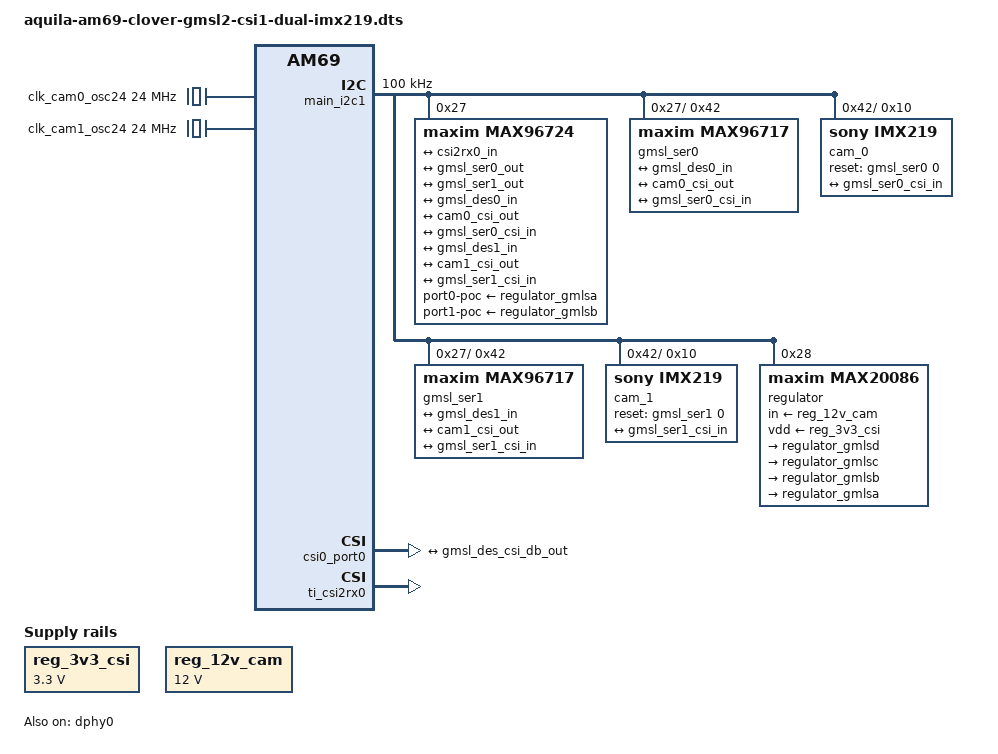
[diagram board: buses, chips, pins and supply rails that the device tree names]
// SPDX-License-Identifier: GPL-2.0-or-later OR MIT
/*
 * Aquila AM69 Dual IMX219 over GMSL2 (CSI1)
 *
 * Uses GMSL links A and B (deserializer ports 0 and 1); links C and D are
 * left unpopulated and their PoC supplies stay off.
 *
 *   imx219 -> max96717 -> max96724 -> cdns csi-bridge -> ticsi2rx
 *
 * Both sensors share the deserializer CSI output and are separated by
 * virtual channel (vc = 0 and 1).
 */


/dts-v1/;
/plugin/;

#include <dt-bindings/gpio/gpio.h>
#include <dt-bindings/media/video-interfaces.h>

/ {
	compatible = "toradex,aquila-am69";
};

&{/} {
	clk_cam0_osc24: clk-cam0-osc24 {
		compatible = "fixed-clock";
		#clock-cells = <0>;
		clock-frequency = <24000000>;
	};

	clk_cam1_osc24: clk-cam1-osc24 {
		compatible = "fixed-clock";
		#clock-cells = <0>;
		clock-frequency = <24000000>;
	};

	reg_3v3_csi: regulator-3v3-csi {
		compatible = "regulator-fixed";
		regulator-name = "V_CSI";
		regulator-min-microvolt = <3300000>;
		regulator-max-microvolt = <3300000>;
	};

	reg_12v_cam: regulator-12v-cam {
		compatible = "regulator-fixed";
		regulator-name = "V_12V_IN";
		regulator-min-microvolt = <12000000>;
		regulator-max-microvolt = <12000000>;
	};
};

/* Aquila I2C_4_CSI1 */
&main_i2c1 {
	#address-cells = <1>;
	#size-cells = <0>;
	status = "okay";

	clock-frequency = <100000>;

	max96724: gmsl-deserializer@27 {
		compatible = "maxim,max96724";
		reg = <0x27>;
		port0-poc-supply = <&regulator_gmlsa>;
		port1-poc-supply = <&regulator_gmlsb>;
	};

	regulator@28 {
		compatible = "maxim,max20086";
		reg = <0x28>;
		in-supply = <&reg_12v_cam>;
		vdd-supply = <&reg_3v3_csi>;

		regulators {
			regulator_gmlsd: OUT1 {
				regulator-name = "VPOC_D";
			};

			regulator_gmlsc: OUT2 {
				regulator-name = "VPOC_C";
			};

			regulator_gmlsb: OUT3 {
				regulator-name = "VPOC_B";
			};

			regulator_gmlsa: OUT4 {
				regulator-name = "VPOC_A";
			};
		};
	};
};

&max96724 {
	i2c-alias-pool = <0x42 0x43>;

	ports {
		#address-cells = <1>;
		#size-cells = <0>;

		port@6 {
			reg = <6>;

			gmsl_des_csi_db_out: endpoint {
				remote-endpoint = <&csi2rx0_in>;
				clock-lanes = <0>;
				data-lanes = <1 2 3 4>;
				lane-polarities = <0 1 0 1 0>;
				link-frequencies = /bits/ 64 <700000000>;
			};
		};
	};
};

&max96724 {
	ports {
		#address-cells = <1>;
		#size-cells = <0>;

		port@0 {
			reg = <0>;

			gmsl_des0_in: endpoint {
				remote-endpoint = <&gmsl_ser0_out>;
			};
		};

		port@1 {
			reg = <1>;

			gmsl_des1_in: endpoint {
				remote-endpoint = <&gmsl_ser1_out>;
			};
		};
	};

	i2c-atr {
		#address-cells = <1>;
		#size-cells = <0>;

		i2c@0 {
			reg  = <0x0>;
			#address-cells = <1>;
			#size-cells = <0>;

			gmsl_ser0: gmsl-serializer@42 {
				compatible = "maxim,max96717";
				reg = <0x42>;
				#gpio-cells = <2>;
				gpio-controller;
				gpio-ranges = <&gmsl_ser0 0 0 11>;

				ports {
					#address-cells = <1>;
					#size-cells = <0>;

					port@1 {
						reg = <1>;

						gmsl_ser0_out: endpoint {
							remote-endpoint = <&gmsl_des0_in>;
						};
					};
				};
			};
		};

		i2c@1 {
			reg  = <0x01>;
			#address-cells = <1>;
			#size-cells = <0>;

			gmsl_ser1: gmsl-serializer@42 {
				compatible = "maxim,max96717";
				reg = <0x42>;
				#gpio-cells = <2>;
				gpio-controller;
				gpio-ranges = <&gmsl_ser1 0 0 11>;

				ports {
					#address-cells = <1>;
					#size-cells = <0>;

					port@1 {
						reg = <1>;

						gmsl_ser1_out: endpoint {
							remote-endpoint = <&gmsl_des1_in>;
						};
					};
				};
			};
		};
	};
};

&gmsl_ser0 {
	status = "okay";

	i2c-alias-pool = <0x50 0x51>;

	i2c-atr {
		status = "okay";
		#address-cells = <1>;
		#size-cells = <0>;

		gmsl_ser0_i2c_0: i2c@0 {
			status = "okay";
			#address-cells = <1>;
			#size-cells = <0>;
			reg = <0x0>;
		};
	};

	ports {
		#address-cells = <1>;
		#size-cells = <0>;

		port@0 {
			reg = <0>;

			gmsl_ser0_csi_in: endpoint {
				remote-endpoint = <&cam0_csi_out>;
				clock-lanes = <0>;
				data-lanes = <1 2>;
				lane-polarities = <1 1 1>;
				link-frequencies = /bits/ 64 <500000000>;
			};
		};
	};

	/* MFP0 drives the IMX219 XCLR (reset) line on the camera board */
	pinctrl_cam0: cam0-pingrp {
		reset-pin {
			pins = "mfp0";
			function = "gpio";
			output-enable;
		};
	};
};

&gmsl_ser1 {
	status = "okay";

	i2c-alias-pool = <0x52 0x53>;

	i2c-atr {
		status = "okay";
		#address-cells = <1>;
		#size-cells = <0>;

		gmsl_ser1_i2c_0: i2c@0 {
			status = "okay";
			#address-cells = <1>;
			#size-cells = <0>;
			reg = <0x0>;
		};
	};

	ports {
		#address-cells = <1>;
		#size-cells = <0>;

		port@0 {
			reg = <0>;

			gmsl_ser1_csi_in: endpoint {
				remote-endpoint = <&cam1_csi_out>;
				clock-lanes = <0>;
				data-lanes = <1 2>;
				lane-polarities = <1 1 1>;
				link-frequencies = /bits/ 64 <500000000>;
			};
		};
	};

	pinctrl_cam1: cam1-pingrp {
		reset-pin {
			pins = "mfp0";
			function = "gpio";
			output-enable;
		};
	};
};

&gmsl_ser0_i2c_0 {
	cam_0: imx219@10 {
		status = "okay";
		compatible = "sony,imx219";
		reg = <0x10>;
		clocks = <&clk_cam0_osc24>;
		clock-names = "xclk";

		pinctrl-names = "default";
		pinctrl-0 = <&pinctrl_cam0>;
		reset-gpios = <&gmsl_ser0 0 GPIO_ACTIVE_HIGH>;

		vc = <0>;

		port {
			cam0_csi_out: endpoint {
				remote-endpoint = <&gmsl_ser0_csi_in>;
				clock-lanes = <0>;
				data-lanes = <1 2>;
				link-frequencies = /bits/ 64 <456000000>;
				clock-noncontinuous;
			};
		};
	};
};

&gmsl_ser1_i2c_0 {
	cam_1: imx219@10 {
		status = "okay";
		compatible = "sony,imx219";
		reg = <0x10>;
		clocks = <&clk_cam1_osc24>;
		clock-names = "xclk";

		pinctrl-names = "default";
		pinctrl-0 = <&pinctrl_cam1>;
		reset-gpios = <&gmsl_ser1 0 GPIO_ACTIVE_HIGH>;

		vc = <1>;

		port {
			cam1_csi_out: endpoint {
				remote-endpoint = <&gmsl_ser1_csi_in>;
				clock-lanes = <0>;
				data-lanes = <1 2>;
				link-frequencies = /bits/ 64 <456000000>;
				clock-noncontinuous;
			};
		};
	};
};

&csi0_port0 {
	status = "okay";

	csi2rx0_in: endpoint {
		remote-endpoint = <&gmsl_des_csi_db_out>;
		clock-lanes = <0>;
		data-lanes = <1 2 3 4>;
		link-frequencies = /bits/ 64 <700000000>;
	};
};

&dphy0 {
	status = "okay";
};

&ti_csi2rx0 {
	status = "okay";
};
